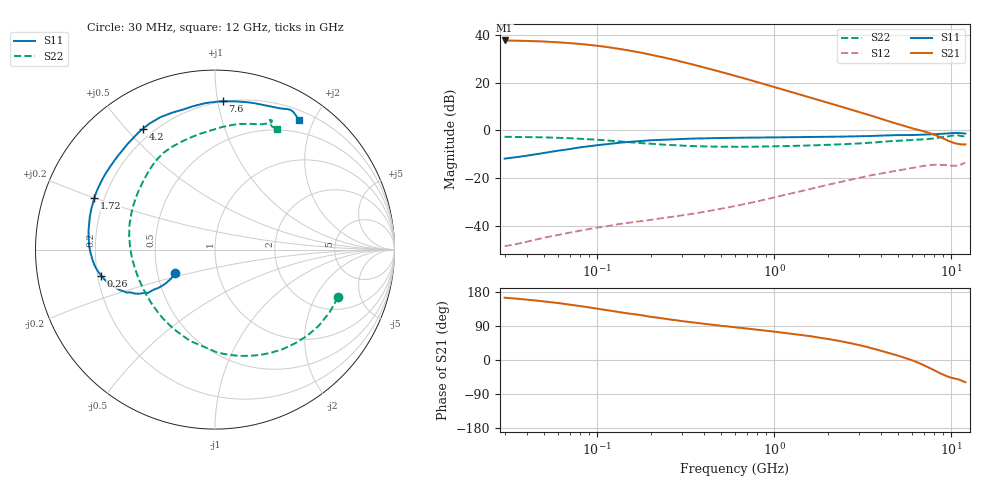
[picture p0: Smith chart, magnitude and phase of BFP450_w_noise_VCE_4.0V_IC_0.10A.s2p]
! Infineon Technologies  Discrete & RF Semiconductors
! BFP450
! VCE =  4.0 V,  IC = 0.10 A
! Common Emitter S-Parameters:  Nov 2015
# GHz  S  MA  R  50
!  f  S11  S21  S12  S22
! GHz  MAG  ANG  MAG  ANG  MAG  ANG  MAG  ANG
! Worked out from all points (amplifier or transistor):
!   239 points, 30 MHz to 12 GHz, reference 50 ohm
!   highest |S21| = 37.6 dB at 30 MHz (marker M1)
!   |S21| within 3 dB of that: start of sweep to 119.8 MHz
!   unconditionally stable (mu >= 1): 913.5 MHz to end of sweep
!   at 300 MHz: K = 0.73, MSG = 32.1 dB, |S12| = -35.5 dB
!   at 1.88 GHz: K = 1.09, MAG = 15.9 dB, |S12| = -23.2 dB
!   at 12 GHz: K = 1.08, MAG = 2.1 dB, |S12| = -13.5 dB
!   lowest NFmin = 2.12 dB at 450 MHz
!   S11 on the Smith chart (normalised r, x): 30 MHz: 0.62, -0.17; 260 MHz: 0.21, -0.11; 1.72 GHz: 0.16, +0.20; 4.2 GHz: 0.16, +0.56; 7.6 GHz: 0.20, +1.03; 12 GHz: 0.32, +1.79
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0.03  0.2574 -149.6  76.02 164.3  0.0038 66.5  0.7352 -21.2
0.04  0.2955 -146.4  74.34 159.4  0.0047 65.8  0.7277 -28.8
0.05  0.3394 -145.5  72.28 154.6  0.0057 64.1  0.7172 -36.1
0.06  0.3764 -145.8  69.64 150.4  0.0065 64.1  0.7035 -43.0
0.07  0.4073 -146.8  66.91 145.9  0.0073 62.0  0.6866 -49.6
0.085  0.4545 -147.9  62.84 140.6  0.0083 60.0  0.6616 -58.6
0.11  0.509 -151.2  56.32 132.6  0.0098 57.3  0.6227 -71.9
0.14  0.561 -155.6  49.27 125.0  0.0113 55.9  0.5827 -85.3
0.165  0.5887 -158.5  44.37 120.4  0.0122 55.0  0.5538 -93.7
0.2  0.6223 -162.3  38.26 113.9  0.0135 54.2  0.5273 -105.3
0.24  0.6417 -165.6  33.2 109.0  0.0149 54.5  0.503 -114.9
0.26  0.6503 -167.1  31.01 106.7  0.0155 54.8  0.4946 -119.2
0.3  0.6647 -169.7  27.2 102.7  0.0167 55.5  0.4814 -126.8
0.4  0.6834 -174.7  20.77 95.5  0.0198 57.1  0.4633 -140.2
0.6  0.7013 178.5  13.83 86.2  0.0262 59.8  0.4549 -156.5
1  0.7146 169.3  8.046 74.8  0.0396 60.8  0.4645 -174.0
1.64  0.73 158.0  4.722 62.1  0.0611 56.5  0.487 169.2
1.72  0.7318 156.7  4.484 60.6  0.0637 55.8  0.4897 167.5
4.2  0.7834 120.8  1.657 21.8  0.1295 27.9  0.5817 127.3
4.5  0.7915 117.5  1.523 17.6  0.1355 24.9  0.5947 123.8
7.6  0.8273 87.0  0.871 -22.0  0.1885 -8.2  0.6662 91.4
12  0.8595 57.2  0.509 -58.7  0.2117 -40.2  0.7561 62.6
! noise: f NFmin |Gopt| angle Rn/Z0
0.45  2.12  0.64  -172  0.07
0.9  2.18  0.66  -166  0.08
1.9  2.27  0.68  -150  0.16
2.4  2.36  0.67  -140  0.24
